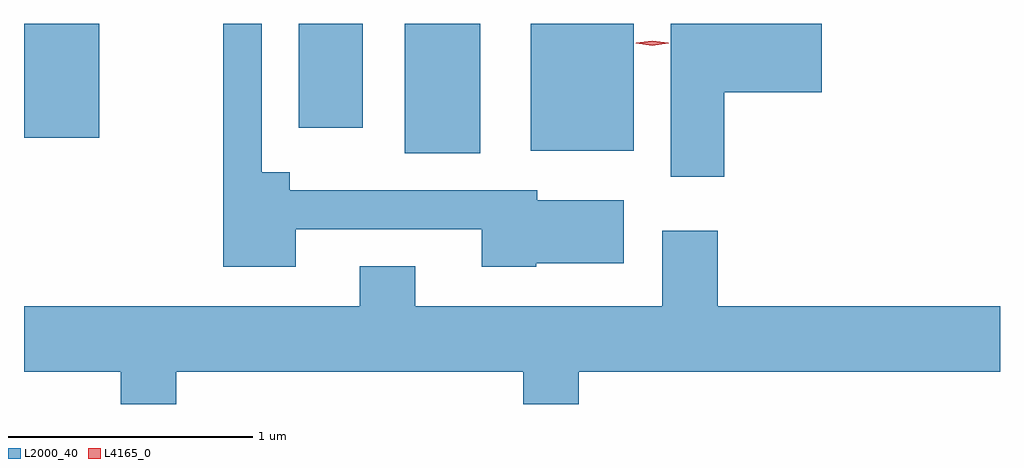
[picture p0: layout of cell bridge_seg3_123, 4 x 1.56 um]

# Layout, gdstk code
import gdstk
lib = gdstk.Library(unit=1e-6, precision=1e-09)
def R(c, l, rs):  # rectangles x0, y0, x1, y1
    for r in rs: c.add(gdstk.rectangle(r[:2], r[2:], *l))
def P(c, l, *ps):  # polygons
    for p in ps: c.add(gdstk.Polygon(p, *l))
L2000_40 = (2000, 40)
L4165_0 = (4165, 0)

bridge_seg3_123 = lib.new_cell('bridge_seg3_123')
R(bridge_seg3_123, L2000_40, [(748.836,1253.451,749.144,1253.982), (749.351,1253.461,749.774,1253.982), (747.275,1253.516,747.584,1253.982), (748.401,1253.556,748.664,1253.982)])
P(bridge_seg3_123, L2000_40, [(748.389,1253.141),(749.151,1253.141),(749.151,1252.986),(749.375,1252.986),(749.375,1253.001),(749.734,1253.001),(749.734,1253.259),(749.379,1253.259),(749.379,1253.299),(748.364,1253.299),(748.364,1253.374),(748.249,1253.374),(748.249,1253.982),(748.091,1253.982),(748.091,1252.986),(748.389,1252.986)],
  [(750.144,1253.701),(750.544,1253.701),(750.544,1253.982),(749.926,1253.982),(749.926,1253.356),(750.144,1253.356)],
  [(747.899,1252.556),(749.321,1252.556),(749.321,1252.423),(749.549,1252.423),(749.549,1252.556),(751.275,1252.556),(751.275,1252.824),(750.119,1252.824),(750.119,1253.134),(749.891,1253.134),(749.891,1252.824),(748.879,1252.824),(748.879,1252.989),(748.651,1252.989),(748.651,1252.824),(747.275,1252.824),(747.275,1252.556),(747.671,1252.556),(747.671,1252.423),(747.899,1252.423)])
P(bridge_seg3_123, L4165_0, [(749.85,1253.893),(749.784,1253.902),(749.783,1253.903),(749.784,1253.904),(749.85,1253.913),(749.916,1253.904),(749.917,1253.903),(749.916,1253.902)])

lib.write_gds('bridge_seg3_123.gds')
